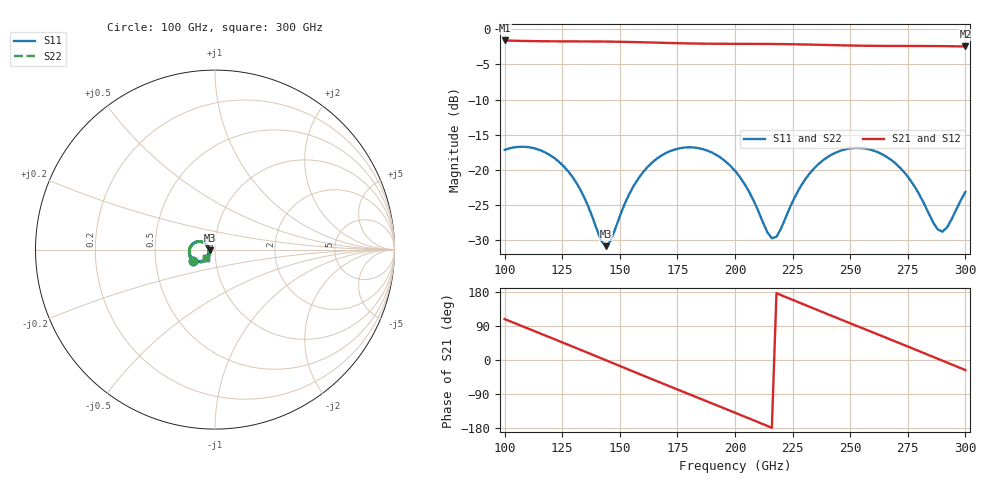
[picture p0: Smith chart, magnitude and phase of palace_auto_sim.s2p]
#  GHZ S DB R 50
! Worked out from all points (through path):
!   101 points, 100 GHz to 300 GHz, reference 50 ohm
!   highest |S21| = -1.58 dB at 100 GHz (marker M1); lowest = -2.4 dB at 300 GHz (marker M2)
!   group delay of S21, straight-line fit = 6.87 ps
!   lowest |S11| = -30.8 dB at 144 GHz (marker M3), VSWR 1.06, Z = 47.2 - j0.406 ohm
!   |S11| at or under -10 dB: start of sweep to end of sweep
!   |S22| runs from -31.1 to -16.7 dB; largest |S21 - S12| = 9.6e-14
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100  -17.13 -152.7  -1.58 108.0  -1.58 108.0  -17.13 -152.5
108  -16.70 -169.6  -1.65 88.3  -1.65 88.3  -16.70 -169.4
116  -17.26 174.0  -1.69 68.7  -1.69 68.7  -17.26 174.1
126  -19.60 155.5  -1.71 44.1  -1.71 44.1  -19.61 155.5
134  -23.51 146.9  -1.72 24.3  -1.72 24.3  -23.57 146.6
144  -30.83 -171.4  -1.74 -0.7  -1.74 -0.7  -31.10 -170.7
156  -22.27 -131.0  -1.81 -30.7  -1.81 -30.7  -22.28 -130.0
168  -17.96 -148.9  -1.91 -60.5  -1.91 -60.5  -17.95 -148.1
176  -16.91 -164.2  -1.98 -80.2  -1.98 -80.2  -16.90 -163.6
184  -16.88 -180.0  -2.03 -99.8  -2.03 -99.8  -16.88 -179.4
200  -20.12 152.1  -2.06 -139.1  -2.06 -139.1  -20.12 152.5
208  -24.30 147.4  -2.07 -158.9  -2.07 -158.9  -24.34 147.6
216  -29.72 -179.4  -2.08 -178.8  -2.08 -178.8  -29.91 -178.6
218  -29.50 -162.6  -2.09 176.2  -2.09 176.2  -29.68 -161.3
224  -25.21 -136.6  -2.12 161.2  -2.12 161.2  -25.26 -135.1
234  -19.89 -141.0  -2.18 136.3  -2.18 136.3  -19.89 -139.7
250  -16.93 -168.4  -2.30 96.9  -2.30 96.9  -16.92 -167.3
258  -17.05 176.6  -2.34 77.3  -2.34 77.3  -17.03 177.8
268  -18.62 159.4  -2.36 52.8  -2.36 52.8  -18.60 160.6
280  -23.49 148.6  -2.37 23.2  -2.37 23.2  -23.45 150.0
290  -28.77 -172.9  -2.39 -1.7  -2.39 -1.7  -28.68 -171.6
300  -23.11 -139.1  -2.44 -26.6  -2.44 -26.6  -23.06 -138.0
